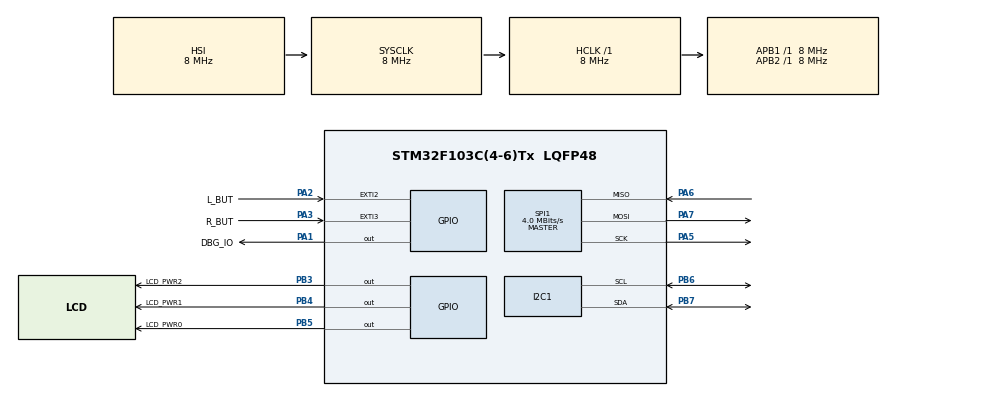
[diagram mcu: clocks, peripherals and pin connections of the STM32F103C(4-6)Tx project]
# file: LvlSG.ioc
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Dma.Request0=SPI1_TX
Dma.Request1=SPI1_RX
Dma.SPI1_RX.1.Direction=DMA_PERIPH_TO_MEMORY
Dma.SPI1_RX.1.Instance=DMA1_Channel2
Dma.SPI1_RX.1.MemDataAlignment=DMA_MDATAALIGN_BYTE
Dma.SPI1_RX.1.MemInc=DMA_MINC_ENABLE
Dma.SPI1_RX.1.Mode=DMA_NORMAL
Dma.SPI1_RX.1.PeriphDataAlignment=DMA_PDATAALIGN_BYTE
Dma.SPI1_RX.1.PeriphInc=DMA_PINC_DISABLE
Dma.SPI1_RX.1.Priority=DMA_PRIORITY_MEDIUM
Dma.SPI1_TX.0.Direction=DMA_MEMORY_TO_PERIPH
Dma.SPI1_TX.0.Instance=DMA1_Channel3
Dma.SPI1_TX.0.MemDataAlignment=DMA_MDATAALIGN_BYTE
Dma.SPI1_TX.0.MemInc=DMA_MINC_ENABLE
Dma.SPI1_TX.0.Mode=DMA_NORMAL
Dma.SPI1_TX.0.PeriphDataAlignment=DMA_PDATAALIGN_BYTE
Dma.SPI1_TX.0.PeriphInc=DMA_PINC_DISABLE
Dma.SPI1_TX.0.Priority=DMA_PRIORITY_MEDIUM
Mcu.Family=STM32F1
Mcu.Name=STM32F103C(4-6)Tx
Mcu.Package=LQFP48
NVIC.DMA1_Channel2_IRQn=true\:0\:0\:false\:false\:true\:false\:true\:true
NVIC.DMA1_Channel3_IRQn=true\:0\:0\:false\:false\:true\:false\:true\:true
NVIC.EXTI2_IRQn=true\:0\:0\:false\:false\:true\:true\:true\:true
NVIC.PriorityGroup=NVIC_PRIORITYGROUP_4
NVIC.RTC_Alarm_IRQn=true\:0\:0\:false\:false\:true\:true\:true\:true
NVIC.RTC_IRQn=true\:0\:0\:false\:false\:true\:true\:true\:true
NVIC.SPI1_IRQn=true\:0\:0\:false\:false\:true\:true\:true\:true
PA1.GPIO_Label=DBG_IO
PA1.Signal=GPIO_Output
PA13.Mode=Serial_Wire
PA13.Signal=SYS_JTMS-SWDIO
PA14.Mode=Serial_Wire
PA14.Signal=SYS_JTCK-SWCLK
PA2.GPIO_Label=L_BUT
PA2.GPIO_ModeDefaultEXTI=GPIO_MODE_IT_RISING_FALLING
PA2.GPIO_PuPd=GPIO_PULLDOWN
PA2.Signal=GPXTI2
PA3.GPIO_Label=R_BUT
PA3.GPIO_ModeDefaultEXTI=GPIO_MODE_IT_FALLING
PA3.GPIO_PuPd=GPIO_PULLDOWN
PA3.Signal=GPXTI3
PA5.Mode=Full_Duplex_Master
PA5.Signal=SPI1_SCK
PA6.Mode=Full_Duplex_Master
PA6.Signal=SPI1_MISO
PA7.Mode=Full_Duplex_Master
PA7.Signal=SPI1_MOSI
PB3.GPIO_Label=LCD_PWR2
PB3.Signal=GPIO_Output
PB4.GPIO_Label=LCD_PWR1
PB4.Signal=GPIO_Output
PB5.GPIO_Label=LCD_PWR0
PB5.Signal=GPIO_Output
PB6.GPIO_Pu=GPIO_PULLUP
PB6.Mode=I2C
PB6.Signal=I2C1_SCL
PB7.GPIO_Pu=GPIO_PULLUP
PB7.Mode=I2C
PB7.Signal=I2C1_SDA
PC14-OSC32_IN.Mode=LSE-External-Oscillator
PC14-OSC32_IN.Signal=RCC_OSC32_IN
PC15-OSC32_OUT.Mode=LSE-External-Oscillator
PC15-OSC32_OUT.Signal=RCC_OSC32_OUT
ProjectManager.HeapSize=0x200
ProjectManager.StackSize=0x400
ProjectManager.TargetToolchain=STM32CubeIDE
RCC.AHBFreq_Value=8000000
RCC.APB1Freq_Value=8000000
RCC.APB1TimFreq_Value=8000000
RCC.APB2Freq_Value=8000000
RCC.APB2TimFreq_Value=8000000
RCC.HCLKFreq_Value=8000000
RCC.RTCClockSelection=RCC_RTCCLKSOURCE_LSE
RCC.SYSCLKFreq_VALUE=8000000
RCC.USBFreq_Value=8000000
RTC.Format=RTC_FORMAT_BIN
SPI1.CalculateBaudRate=4.0 MBits/s
SPI1.Direction=SPI_DIRECTION_2LINES
SPI1.Mode=SPI_MODE_MASTER
SPI1.VirtualType=VM_MASTER
VP_RTC_VS_RTC_Activate.Mode=RTC_Enabled
board=custom

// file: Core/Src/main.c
/* USER CODE BEGIN Header */
/**
  ******************************************************************************
  * @file           : main.c
  * @brief          : Main program body
  ******************************************************************************
  * @attention
  *
  * Copyright (c) 2026 STMicroelectronics.
  * All rights reserved.
  *
  * This software is licensed under terms that can be found in the LICENSE file
  * in the root directory of this software component.
  * If no LICENSE file comes with this software, it is provided AS-IS.
  *
  ******************************************************************************
  */
/* USER CODE END Header */
#include "main.h"
#include "dma.h"
#include "i2c.h"
#include "rtc.h"
#include "spi.h"
#include "gpio.h"

/* USER CODE BEGIN Includes */
#include "blackpil.h"
#include <string.h>
#include <stdio.h>
#include "ssd1306.h"
#include "ssd1306_fonts.h"
#include "hx711.h"
/* USER CODE END Includes */

/* USER CODE BEGIN PD */
#define SYS_STAT(x) (void)0
//#define  LCD_ALWAYS_ON
/* USER CODE END PD */

void SystemClock_Config(void);
/* USER CODE BEGIN PFP */
void SgWakeUp();
/* USER CODE END PFP */

/* USER CODE BEGIN 0 */

#ifdef DO_DBG
void DbgIOSet(int x){
	if(  x>= 0 )
		HAL_GPIO_WritePin(DBG_IO_GPIO_Port,DBG_IO_Pin,x&1);
	else {
		HAL_GPIO_TogglePin(DBG_IO_GPIO_Port,DBG_IO_Pin);
	}
}
#else
#	define DbgIOSet(x) (void)0
#endif

int MeasPeriodSec=60;//shall be 1min ode debuhing issue bad value set 5
int _Stoped=0;

/**SPI1 GPIO Configuration
PA5     ------> SPI1_SCK
PA6     ------> SPI1_MISO
PA7     ------> SPI1_MOSI
*/

uint8_t CkBuf[64];
uint8_t DiBuf[64];
struct Hx711_t hx711 = {
		.hspi = &hspi1, .CkBuf=CkBuf, .DiBuf=DiBuf,
		.RawOffset = 0 //todo get this from eeprom or calib
		// 0xedba39 next day ref
		// 0xee5fca ~ 40g
};

void HAL_SPI_TxRxCpltCallback(SPI_HandleTypeDef *hspi){
	if( hspi == hx711.hspi){
		Hx711_SPiComplete(&hx711);

	}
}

volatile struct Dbg_t  {
	unsigned TogleLed :1;
	unsigned DoRead :1;
	unsigned DoPwrDown :1;
	unsigned StopMode :1; //if not set then we don't go into stop simply use wfi aka debgu stop entering
}Dbg ={ .StopMode = 1 };

struct task_t task;

struct Lcd_t {
	unsigned PwrOn:1;
	unsigned Update:1;

};
struct Lcd_t lcd;

void LcdPwrOn(){
	if( lcd.PwrOn == 0){
	  HAL_GPIO_WritePin(GPIOB, LCD_PWR0_Pin|LCD_PWR1_Pin|LCD_PWR2_Pin, GPIO_PIN_SET);
	  lcd.PwrOn=1;
	  lcd.Update=1;
	  ssd1306_Init();
	}
}

void LcdPwrDown(){
	HAL_GPIO_WritePin(GPIOB, LCD_PWR0_Pin|LCD_PWR1_Pin|LCD_PWR2_Pin, GPIO_PIN_RESET);
#ifndef LCD_ALWAYS_ON
	lcd.PwrOn =0;
#endif
	lcd.Update =0;

}

//use pwr stabdy bit ( hse/hsi  reset may be used (if hse useed) in what case clk config shall be set back
//stanby bit is only for standby state not stop and can(t be used , stop can be s/w driver as ram retained
int GetStopState(){
	int s= _Stoped;
	_Stoped = 0;
	return s;

}

void StopResume(){
	HAL_ResumeTick();
	if( GetStopState() ){ //avoid all clk setup if we'r just call form exti/rtc while not stoped
		// fixme is needed ? is we used hse base
#if 0
		SystemClock_Config ();
#endif
		SgWakeUp();
		SYS_STAT(Resume++);
	}

}

void HAL_GPIO_EXTI_Callback(uint16_t GPIO_Pin)
{
  if(GPIO_Pin == R_BUT_Pin || GPIO_Pin == L_BUT_Pin){
	  StopResume();
	  task.active.user = 1; //safer that ony relying i/o chg is seen on the main loop
  }
}
#define MIN_CAL_PERCENT 20
int CalPercent=MIN_CAL_PERCENT; //not less than min
int32_t W0=15651106;        //sg unit aprox 1mg , 1m diam 8 320g
int32_t W100=15579225-10*1000; // 50g less when fully under water

struct SgTask_t {
#define SG_REP_4_AVG	3
	int RepMeas; // on wake up run  this amount of measure in cont mode then step to single/off
	int Sum;
	int Avg;
	int n;
	int skiped;
} Task_SG;;

void HAL_RTC_AlarmAEventCallback(RTC_HandleTypeDef *hrtc){
	StopResume();

	task.active.SG = 1;
	SetLed(0); //put on
}

void SgWakeUp(){
	if( task.active.SG ==0   ){
		// TODO reset avg  only on pd exit we xan have rtc while on by user
			task.active.SG = 1;
			//shall we take care we lay be in interactive mdoe so already in cont mode and averaged value ?
#if 0
			Task_SG.Sum=0; // reset average:
			Task_SG.n = 0;
#endif
			Task_SG.RepMeas = SG_REP_4_AVG; //wait to acquire new avg but keep old average (almost same if we reset)
			hx711.ContMode = 1;
	}
}

//in rfmaster proj the hal alarm was somehow not causing stop exit or has issue some extra code set alarm , exti irqhandled was used.
// why ? extra overhead , "dhms" fromat of hal that was not folowed in rf master to get milli second precision ?

void RtcEnableWkUpExtiAlarm(){
#if 0
	//rf master code
	__HAL_RTC_ALARM_EXTI_CLEAR_FLAG();
	RTC_EnableAlarmIT(&hrtc);
	HAL_NVIC_ClearPendingIRQ(RTC_Alarm_IRQn);
	HAL_NVIC_EnableIRQ(RTC_Alarm_IRQn);
	HAL_RTC_SetAlarm_IT()
#endif

}

/**
 *
 * @param sTime [in/out] time to add min:sec
 * @param m minute to add  (okf if more than 60)
 * @param s seconf o add (ok if > 60 )
 * overall m +s shall be less than 24 hr multipel day span is nto handle properly (maybe even not by  hal)
 * @return
 */
void  RtcTimeAdd(RTC_TimeTypeDef *sTime, int m, int s){
	int carry_m, carry_h;
	s+= sTime->Seconds;
	carry_m = s /60;
	sTime->Seconds = s %60;
	m +=  carry_m + sTime->Minutes;
	carry_h = m / 60;
	sTime->Minutes = m % 60;
	sTime->Hours = (sTime->Hours + carry_h)% 24;
}

void RtcSetNextWake(){
	RTC_AlarmTypeDef alarm;
	alarm.Alarm = 1;
	HAL_RTC_GetTime(&hrtc, &alarm.AlarmTime, RTC_FORMAT_BIN);
	RtcTimeAdd(&alarm.AlarmTime, 0, MeasPeriodSec);
	HAL_RTC_SetAlarm_IT(&hrtc, &alarm, RTC_FORMAT_BIN);

}

const char *_MotnthStr[12]={
		"Jan", "Feb", "Mar", "Apr", "May", "Jun",
		"Jul","Aug", "Sep", "Oct", "Nov", "Dec"
};
const char * MonthName(uint8_t m){
	if( m< 1) m= 1;
	else if( m > 12 ) m= 12;
	return _MotnthStr[m-1];
}

void dumb(){

}
#include "tui.h"

uint8_t CurPannel;
enum PanIndex_e {
	MainPannel = 0,
	CfglPannel,
	CalPannel,
	TimePannel,

};

void MainRLong() __attribute__((alias("dumb")));
void MainLShort() __attribute__((alias("dumb")));

void CalShow(){
	char s[32];
	ssd1306_Fill(Black);
	ssd1306_SetCursor(10, 10);
	sprintf(s,"W0 %d", (int)W0);
	ssd1306_WriteString(s,Font_7x10, White);
	ssd1306_SetCursor(10, 25);
	sprintf(s,"Wf %d", (int)W100);
	ssd1306_WriteString(s,Font_7x10, White);
	ssd1306_SetCursor(10, 45);
	sprintf(s,"Dif %d", (int)(W0-W100));
	ssd1306_WriteString(s,Font_7x10, White);
	ssd1306_UpdateScreen();
	HAL_Delay(1000);
	lcd.Update = 1;
}

void CalLMinus(){
	CalPercent = CalPercent<=MIN_CAL_PERCENT ? MIN_CAL_PERCENT : CalPercent-5;
	lcd.Update = 1;
}

void CalExit(){
	//we may set value saved when we enter
	CurPannel = CfglPannel;
	lcd.Update = 1;
}
void CalLAdd(){
	CalPercent = CalPercent>=95 ? 100 : CalPercent+5;
	lcd.Update = 1;
}
void CalSet(){
	// todo set calibraton value
	if( Task_SG.RepMeas == 0){
		// ensure we have averaged enough
		// point 100% fm val assuming cuurent 0 is valid
		W100=(Task_SG.Avg - W0)*100 / CalPercent+W0;
		//TODO store in ee
		CalShow();
	}
	CurPannel = CfglPannel;
}

void CalDraw(){
	char s[32];
	ssd1306_SetCursor(10, 10);
	sprintf(s,"SG %d", Task_SG.Avg);
	ssd1306_WriteString(s,Font_7x10, White);
	ssd1306_SetCursor(10, 30);
	sprintf(s,"Set %03d", CalPercent);
	ssd1306_WriteString(s,Font_7x10, White);
	ssd1306_SetCursor(10, 40);
	//kill the average ?
}

void DoCal0(){
	W0=Task_SG.Avg;

	CalShow();
}
enum CfgIndex_e {
	CfgOnTime = 0,
	CfgDate,
	CfgCal0,
	CfgCalX,
	CfgWrap = CfgCalX+1,
};

const char *CfgItems[]= {
	[CfgOnTime]= "On time",
	[CfgDate]  = "Date&Time",
	[CfgCal0]  = "Cal 0%",
	[CfgCalX]  = "Cal x%",
};

struct  {
	uint8_t CurIndex;
}Cfg;

void TimeEnter();

void CfgPrev(){
	Cfg.CurIndex = Cfg.CurIndex > 0 ?  Cfg.CurIndex-1 : CfgWrap-1;
	lcd.Update = 1;
}
void CfgExit(){
	CurPannel = MainPannel;
	lcd.Update = 1;
}

void CfgNext(){
	Cfg.CurIndex = (Cfg.CurIndex+1) % CfgWrap;
	lcd.Update = 1;
}

void CfgSet(){
	//todo base on index set next pannel or direct action );
	switch ( Cfg.CurIndex ){
	case CfgOnTime : break;
	case CfgCal0:  DoCal0(); break;
	case CfgCalX:  CurPannel= CalPannel; break;
	case CfgDate:  CurPannel= TimePannel, TimeEnter(); break;
//TODO
	}
	lcd.Update = 1;
}

void CfgDraw(){
	int Top=0, color, i;
	//todo if we have more than 5 line we'll need to handle scroll via top top+5 not to go more than last
	for( i=0; i<MIN(5,CfgWrap); i++){
		ssd1306_SetCursor(2, i*10);
		color = Cfg.CurIndex == i+Top ? Black : White;
		//align/fill based on longest string to sel ?
		ssd1306_WriteString((char*)CfgItems[Top+i], Font_7x10, color);
	}
}

uint8_t DTSel;
enum DTSel_e  {
	DT_Day = 0,
	DT_Month,
	DT_Year,
	DT_Hour,
	DT_Min,
	DT_Wrap = DT_Min+1
};

struct DTEdit_t {
	uint8_t d,mo,y,h,min,sec;
}DTEdit;
struct DTVal_t {
	uint8_t  L,H;
	uint8_t *p;
};
struct DTVal_t  DTv[]={
	[DT_Day]  = { .p= &DTEdit.d, .L=1, .H=31, }, //clip must be adjust on every month set and  28/29 for feb */ },
	[DT_Month]= { .p= &DTEdit.mo, .L=1, .H=12, },
	[DT_Year]=  { .p= &DTEdit.y, . L=26, .H=99, },
	[DT_Hour]=  { .p= &DTEdit.h, . L=0, .H=23, },
	[DT_Min ]=  { .p= &DTEdit.min,. L=0,.H=59, },
};

void DTMonthAdj(){
	DTv[DT_Day].H = DTEdit.mo==2 ? 29 : DTEdit.mo&1 ? 31:30;

}
void TimeMinus(){
	*DTv[DTSel].p = *DTv[DTSel].p <=  DTv[DTSel].L ?  DTv[DTSel].H:  *DTv[DTSel].p-1;
	if(DTSel==DT_Month){
		DTMonthAdj();
	}

}
void TimeNext(){
	DTSel = (DTSel+1)%DT_Wrap;
}

void TimeMore(){
	*DTv[DTSel].p = *DTv[DTSel].p >=  DTv[DTSel].H ?  DTv[DTSel].L:  *DTv[DTSel].p+1;
	if(DTSel==DT_Month){
		DTMonthAdj();
	}
}

void TimeEnter(){
	RTC_DateTypeDef Date;
	RTC_TimeTypeDef Time;
	HAL_RTC_GetDate(&hrtc,&Date,  RTC_FORMAT_BIN);
	DTEdit.d=Date.Date;
	DTEdit.mo=Date.Month;
	DTEdit.y=Date.Year;
	HAL_RTC_GetTime(&hrtc, &Time, RTC_FORMAT_BIN);
	DTEdit.h=Time.Hours;
	DTEdit.min=Time.Minutes;
	DTMonthAdj();
	DTSel=DT_Day;
}

void TimeSave(){
	RTC_DateTypeDef Date;
	RTC_TimeTypeDef Time;

	Date.Date= DTEdit.d;
	Date.Month= DTEdit.mo;
	Date.Year= DTEdit.y;
	//set the current value and set cfg pannel
	HAL_RTC_SetDate(&hrtc,&Date,  RTC_FORMAT_BIN);
	Time.Hours=DTEdit.h;
	Time.Minutes=DTEdit.min;

	HAL_RTC_SetTime(&hrtc, &Time, RTC_FORMAT_BIN);
	CurPannel=CfglPannel;
}

void TimeDraw(){
	char s[10];
	ssd1306_SetCursor(16, 16);
	sprintf(s,"%2d", DTEdit.d);
	ssd1306_WriteString(s,Font_7x10, DTSel== DT_Day ? Black: White);
	ssd1306_WriteString("-",Font_7x10, White);
	sprintf(s,"%3s", MonthName(DTEdit.mo));
	ssd1306_WriteString(s,Font_7x10, DTSel== DT_Month ? Black: White);
	ssd1306_WriteString("-",Font_7x10, White);
	sprintf(s,"20%02d", DTEdit.y);
	ssd1306_WriteString(s, Font_7x10, DTSel== DT_Year ? Black: White);

	ssd1306_SetCursor(16, 32);
	sprintf(s,"%2d", DTEdit.h);
	ssd1306_WriteString(s,Font_7x10, DTSel== DT_Hour ? Black: White);
	ssd1306_WriteString(":",Font_7x10, White);
	sprintf(s,"%02d", DTEdit.min);
	ssd1306_WriteString(s,Font_7x10, DTSel== DT_Min ? Black: White);

}

struct UsrTask_t {
	unsigned ButChg:1;
	unsigned WakeUp :1 ;

	uint32_t TikcChg;

	uint32_t OnTime; //time to stay one w/o button chg
	#define	USER_OFF_MSEC	5000 //for debug dev use 5 sec
} UsrTask = { .OnTime= 1000*5 };

struct TUiItem_t ConfMenu[] = {
		[0]= { .first =1, .has_sub =0, .fmt_arg = "stat clear"},

		[0]= { .last =1, .has_sub =0, },
};

void InteractiveEnd(){
	LcdPwrDown();       // turn lcd off
	task.active.user =0;
	CurPannel=MainPannel;
}

struct ButCtrl_t ButL={ .GpioPin= L_BUT_Pin, .Port=L_BUT_GPIO_Port};
struct ButCtrl_t ButR={ .GpioPin= R_BUT_Pin, .Port=R_BUT_GPIO_Port}; //todo new button

uint8_t l0x= 16; // x0 of text
uint8_t l0y = 2; //y0 of text
uint8_t Lvl0x= 0 , Lvl0y=0 , LvlW=6, LvlH=64-12;

void MainOn(){
	//todo set on
}
void MainLLong(){
	CurPannel=CfglPannel;
}
int GetLevel100(){
	int Lvl100,w;
	if( Task_SG.RepMeas ){
		return -1;
	}
	w = Task_SG.Avg <= 0 ? 0 : Task_SG.Avg;
	//if on prevent pwr off and show left time ?
	Lvl100=100*(w-W0)/(W100-W0);
	if( Lvl100<=0 )
		Lvl100=0;
	else if( Lvl100>100)
		Lvl100=100;
	return Lvl100;
}
int lvl_err;
void MainDraw(){
	char s[32];
	RTC_TimeTypeDef time;
	RTC_DateTypeDef date;
	int Lvl100;

	HAL_RTC_GetTime(&hrtc, &time, RTC_FORMAT_BIN);
	HAL_RTC_GetDate(&hrtc, &date, RTC_FORMAT_BIN);
	sprintf(s,"%2d-%3s %2d:%02d", date.Date, MonthName(date.Month),
			time.Hours, time.Minutes);
	ssd1306_SetCursor(l0x, l0y);
	ssd1306_WriteString(s,Font_7x10, White);
	Lvl100 = GetLevel100();
	if( Lvl100>= 0 ){
		ssd1306_DrawRectangle(Lvl0x, Lvl0y                      , Lvl0x+LvlW, Lvl0y+LvlH, White);
		ssd1306_FillRectangle(Lvl0x, Lvl0y+(100-Lvl100)*LvlH/100, Lvl0x+LvlW, Lvl0y+LvlH, White);
		ssd1306_SetCursor(l0x, l0y+10);
		sprintf(s,"Niv %3d%%", Lvl100);
		ssd1306_WriteString(s,Font_7x10, White);
	}
	else {
		lvl_err++;
	}

}

const struct Panel2B_t Pannels[] = {
	[MainPannel] = {.Draw=MainDraw, .LftA={.Short=MainOn   , .SName="On"  , .Long=MainLLong, .LName="Cfg"} , .RgtA={.Short=NULL, .SName ="Graph",  /* no long */} },
	[CfglPannel] = {.Draw=CfgDraw , .LftA={.Short= CfgPrev , .SName="Prev", .Long=CfgExit  , .LName="Exit"}, .RgtA={.Short= CfgNext  , .SName="Next" ,  .Long = CfgSet, .LName="Set" } },
	[CalPannel]  = {.Draw= CalDraw, .LftA={.Short=CalLMinus, .SName="-",    .Long=CalExit,   .LName="Exit"}, .RgtA={.Short=CalLAdd  ,  .SName="+",      .Long=CalSet  , .LName="Set"  } },
	[TimePannel] = {.Draw= TimeDraw,.LftA={.Short=TimeMinus, .SName="-",    .Long=TimeNext,  .LName="Next"}, .RgtA={.Short=TimeMore ,  .SName="+",      .Long=TimeSave, .LName="Save"  } }
};

void Task_User(){
	uint32_t now=HAL_GetTick();
	const struct Panel2B_t *pannel;
	if( UsrTask.WakeUp ){
		UsrTask.ButChg =1;
		if( ButGet(&ButL) == 0 && ButGet(&ButR)==0 ){
			//force sleep for 2 ms avoid bounce
			HAL_Delay(2);
			UsrTask.WakeUp = 0;
		}
		//skip button action on pwd down exit  til button get back idddle
	}
	else {
		//do menu text
		pannel = Pannels+CurPannel;
		UsrTask.ButChg = ButProc(&ButL, &pannel->LftA);
		UsrTask.ButChg|= ButProc(&ButR, &pannel->RgtA); //ony if ni chg yet avoid pannel chg by b1 and b2
	}
	if( UsrTask.ButChg ){
		task.active.user = 1;
		UsrTask.TikcChg = now;
		LcdPwrOn(); 	//if lcd was off it will kick the display update/Refresh if on nothing
	}
	else {
		//no chg for more than user on time , shall condition to buton is not pressed ?
		if( task.active.user) {
			if( now - UsrTask.TikcChg > UsrTask.OnTime ) {
				InteractiveEnd();
			}
		}
	}
}

void LcdUpdate(){
	const struct Panel2B_t *pannel;

	if( lcd.PwrOn != 0 && lcd.Update){
		ssd1306_Fill(Black);

		pannel= Pannels+CurPannel; //todo select active
		Pannel2B_DoHelp(pannel);
		if( pannel->Draw){
			pannel->Draw();
		}
#if 0
		ssd1306_SetCursor(32, 0);
		g = (int)hx711.Weight/1000;
		dg = (hx711.Weight - g*1000 )/100;
		sprintf(s,"w %d.%d", g, dg);
		ssd1306_WriteString(s, Font_7x10, White);
		ssd1306_SetCursor(32, 11);
		sprintf(s,"r %x", (unsigned)hx711.Value);
		ssd1306_WriteString(s, Font_7x10, White);
#endif
		// current lvl % value raw ?  drawing ?
		// pump on time
		// total run time ?
		ssd1306_UpdateScreen();

	}
	lcd.Update = 0; //clr req even we are off
}

void EnterStop(){
	//Ensure wake condition  button rtc (if not yet on)
	Hx711PwrDown(&hx711);

	HAL_SuspendTick();
#if 0 // needed only if irq is disabled at pwr up exit
	__HAL_GPIO_EXTI_CLEAR_IT(R_BUT_Pin);
	HAL_NVIC_ClearPendingIRQ(R_BUT_IRQN);
	HAL_NVIC_EnableIRQ(R_BUT_IRQN);

	__HAL_GPIO_EXTI_CLEAR_IT(L_BUT_Pin);
	HAL_NVIC_ClearPendingIRQ(L_BUT_IRQN);
	HAL_NVIC_EnableIRQ(L_BUT_IRQN);
#endif
	SetLed(1); // turn led off
	UsrTask.WakeUp = 1;
	RtcSetNextWake();
	_Stoped=1;
	if( Dbg.StopMode ){
		HAL_PWR_EnterSTOPMode(PWR_LOWPOWERREGULATOR_ON, PWR_STOPENTRY_WFI);
	}
	else {
		__WFI();
	}
}

void OnDataRdy(){
	lcd.Update = 1; // mark lcd to be update
	hx711.DataRdy = 0 ;
	if(  hx711.Weight == 0xFFFFFF ){
		//smthg wrong we read all 1
		Task_SG.skiped++;
		DbgIOSet(-1);
		return;
	}
	//handle pump activation on/off  timer when lvl is high
	if( Task_SG.n < SG_REP_4_AVG ){
		Task_SG.n++;
	}
	else {
		Task_SG.Sum = Task_SG.Sum*(SG_REP_4_AVG-1)/SG_REP_4_AVG;
	}
	Task_SG.Sum +=  hx711.Weight;
	Task_SG.Avg = Task_SG.Sum /  Task_SG.n;

	if( Task_SG.RepMeas  ){
	  Task_SG.RepMeas--;
	  // hx711.ContMode = 0; // after this swicth to power down
	  // => this set and measure can race with user change and brake "60us" pwr donw pulse rules if not handle
	  // make the magaement more complex it is much safer/Simpler to be always in cont mode and force pd when to stop
	  // with limited risk sck high > 60 us if we have already set next wake and took long
	}
	if( Task_SG.RepMeas ==0 ){
	  task.active.SG = 0; //put ourself off
	}
}
/* USER CODE END 0 */

int main(void)
{

  /* MCU Configuration--------------------------------------------------------*/

  /* Reset of all peripherals, Initializes the Flash interface and the Systick. */
  HAL_Init();

  /* Configure the system clock */
  SystemClock_Config();

  /* Initialize all configured peripherals */
  MX_GPIO_Init();
  MX_DMA_Init();
  MX_SPI1_Init();
  MX_I2C1_Init();
  MX_RTC_Init();
  /* USER CODE BEGIN 2 */
  LedInit();
  hx711.ContMode = 1;
  Hx711PwrDown(&hx711);
  HAL_Delay(2); //Sensure we is down on  boot

  //strat in user interactive mode led on
  SgWakeUp(); //init restart measure avg
  task.active.user = 1 ; // keep mcu not sleeping at boot it can help debuger connect after reset button issue if we enter stop to fast
  LcdPwrOn(); // boot up with lcd
  SetLed(0);   // is revert led ctrl 0= on
  HAL_NVIC_SetPriority(EXTI3_IRQn, 0, 0);
  HAL_NVIC_EnableIRQ(EXTI3_IRQn);
  /* USER CODE END 2 */

  /* Infinite loop */
  while (1)
  {

    /* USER CODE BEGIN 3 */
	  if( Dbg.TogleLed ) {
		  Dbg.TogleLed =0;
		  ToggleLed();
	  }
	  if( Dbg.DoRead ){
		  Dbg.DoRead = 0;
		  Hx711Read(&hx711, 0);

	  }
	  if( Dbg.DoPwrDown ){
		  Dbg.DoPwrDown = 0;
		  Hx711PwrDown(&hx711);
	  }
	  if( hx711.DataRdy ){
		  OnDataRdy();
	  }
	  if( task.active.SG || task.active.user ){
		  Hx711Read(&hx711, 1); //read w/o rate controle
	  }
	  if( task.active.user ){
		  Task_User();
	  }
	  LcdUpdate();
	 //unless we are in user active lcd we don't kick measure before next period and datary +  RdInProgress  is our task bit
	  if( task.active.dw ) {
		  __WFI();
	  }
	  else {
		  //set next rtc time wake up and go stop
		  EnterStop();
	  }
  }
  /* USER CODE END 3 */
}

void SystemClock_Config(void)
{
  RCC_OscInitTypeDef RCC_OscInitStruct = {0};
  RCC_ClkInitTypeDef RCC_ClkInitStruct = {0};
  RCC_PeriphCLKInitTypeDef PeriphClkInit = {0};

  /** Initializes the RCC Oscillators according to the specified parameters
  * in the RCC_OscInitTypeDef structure.
  */
  RCC_OscInitStruct.OscillatorType = RCC_OSCILLATORTYPE_HSI|RCC_OSCILLATORTYPE_LSE;
  RCC_OscInitStruct.LSEState = RCC_LSE_ON;
  RCC_OscInitStruct.HSIState = RCC_HSI_ON;
  RCC_OscInitStruct.HSICalibrationValue = RCC_HSICALIBRATION_DEFAULT;
  RCC_OscInitStruct.PLL.PLLState = RCC_PLL_NONE;
  if (HAL_RCC_OscConfig(&RCC_OscInitStruct) != HAL_OK)
  {
    Error_Handler();
  }

  /** Initializes the CPU, AHB and APB buses clocks
  */
  RCC_ClkInitStruct.ClockType = RCC_CLOCKTYPE_HCLK|RCC_CLOCKTYPE_SYSCLK
                              |RCC_CLOCKTYPE_PCLK1|RCC_CLOCKTYPE_PCLK2;
  RCC_ClkInitStruct.SYSCLKSource = RCC_SYSCLKSOURCE_HSI;
  RCC_ClkInitStruct.AHBCLKDivider = RCC_SYSCLK_DIV1;
  RCC_ClkInitStruct.APB1CLKDivider = RCC_HCLK_DIV1;
  RCC_ClkInitStruct.APB2CLKDivider = RCC_HCLK_DIV1;

  if (HAL_RCC_ClockConfig(&RCC_ClkInitStruct, FLASH_LATENCY_0) != HAL_OK)
  {
    Error_Handler();
  }
  PeriphClkInit.PeriphClockSelection = RCC_PERIPHCLK_RTC;
  PeriphClkInit.RTCClockSelection = RCC_RTCCLKSOURCE_LSE;
  if (HAL_RCCEx_PeriphCLKConfig(&PeriphClkInit) != HAL_OK)
  {
    Error_Handler();
  }
}

void Error_Handler(void)
{
  __disable_irq();
  while (1)
  {
  }
}
